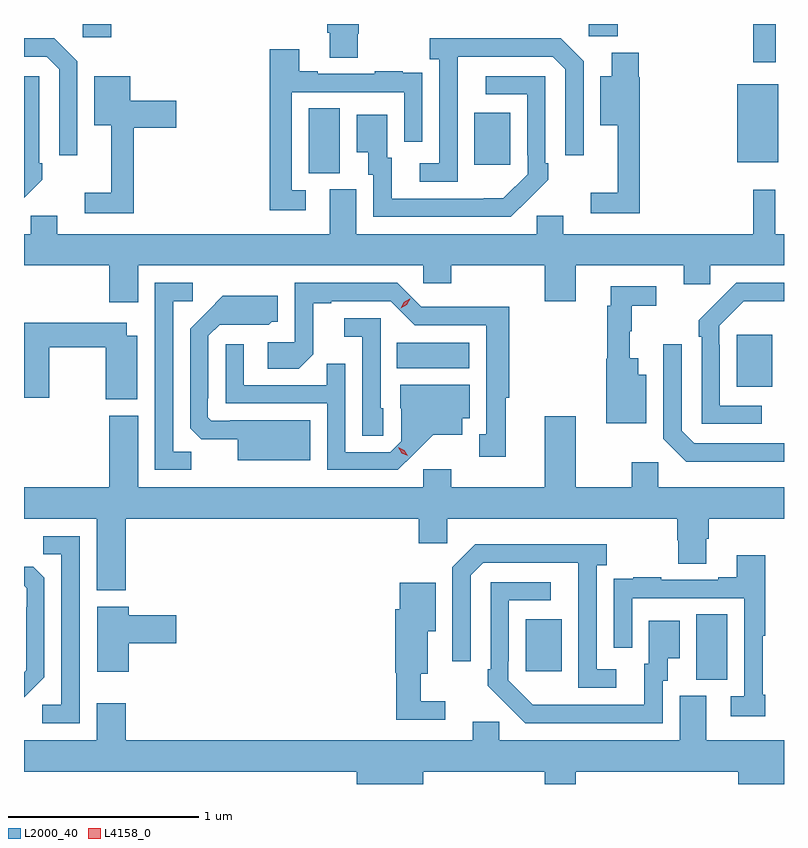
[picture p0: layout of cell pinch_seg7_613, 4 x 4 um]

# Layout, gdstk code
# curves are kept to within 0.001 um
import gdstk
lib = gdstk.Library(unit=1e-6, precision=1e-09)
def R(c, l, rs):  # rectangles x0, y0, x1, y1
    for r in rs: c.add(gdstk.rectangle(r[:2], r[2:], *l))
def P(c, l, *ps):  # polygons
    for p in ps: c.add(gdstk.Polygon(p, *l))
L2000_40 = (2000, 40)
L4158_0 = (4158, 0)

pinch_seg7_613 = lib.new_cell('pinch_seg7_613')
R(pinch_seg7_613, L2000_40, [(117.854,1019.749,118.018,1020.092), (116.957,1019.793,117.145,1020.067), (118.067,1021.289,118.255,1021.564), (116.278,1021.388,116.659,1021.522), (115.814,1022.413,115.978,1022.756), (116.687,1022.457,116.875,1022.731), (118.07,1022.471,118.285,1022.881), (118.153,1022.997,118.272,1023.199), (114.624,1023.129,114.776,1023.199), (117.288,1023.134,117.44,1023.199)])
P(pinch_seg7_613, L2000_40, [(116.073,1023.147),(116.078,1023.147),(116.078,1023.199),(115.913,1023.199),(115.913,1023.154),(115.925,1023.154),(115.925,1023.022),(116.073,1023.022)],
  [(116.598,1022.827),(116.599,1023.027),(117.099,1023.027),(117.165,1022.961),(117.165,1022.508),(117.261,1022.508),(117.261,1023.003),(117.14,1023.124),(116.451,1023.124),(116.451,1023.014),(116.502,1023.014),(116.502,1022.466),(116.4,1022.466),(116.4,1022.37),(116.598,1022.37)],
  [(114.597,1023.003),(114.476,1023.124),(114.316,1023.124),(114.316,1023.027),(114.435,1023.027),(114.501,1022.961),(114.501,1022.508),(114.597,1022.508)],
  [(115.798,1022.325),(115.725,1022.325),(115.725,1022.841),(116.316,1022.841),(116.316,1022.58),(116.412,1022.58),(116.412,1022.834),(116.411,1022.834),(116.411,1022.943),(116.309,1022.943),(116.309,1022.95),(116.161,1022.95),(116.161,1022.937),(115.861,1022.937),(115.861,1022.95),(115.765,1022.95),(115.765,1023.067),(115.609,1023.067),(115.609,1022.22),(115.798,1022.22)],
  [(117.557,1022.919),(117.551,1022.919),(117.551,1023.049),(117.41,1023.049),(117.41,1022.923),(117.35,1022.923),(117.35,1022.666),(117.44,1022.666),(117.44,1022.311),(117.3,1022.311),(117.3,1022.202),(117.557,1022.202)],
  [(116.969,1022.275),(116.97,1022.274),(117.075,1022.379),(117.075,1022.467),(117.06,1022.467),(117.06,1022.925),(116.745,1022.925),(116.745,1022.829),(116.964,1022.829),(116.964,1022.509),(116.967,1022.509),(116.967,1022.409),(116.839,1022.281),(116.251,1022.28),(116.251,1022.496),(116.227,1022.496),(116.227,1022.722),(116.066,1022.722),(116.066,1022.525),(116.129,1022.525),(116.129,1022.406),(116.154,1022.406),(116.154,1022.184),(116.878,1022.184)],
  [(114.411,1022.379),(114.411,1022.467),(114.396,1022.467),(114.396,1022.925),(114.316,1022.925),(114.316,1022.284)],
  [(114.893,1022.654),(115.117,1022.654),(115.117,1022.796),(114.874,1022.796),(114.874,1022.923),(114.686,1022.923),(114.686,1022.666),(114.776,1022.666),(114.776,1022.311),(114.636,1022.311),(114.636,1022.202),(114.893,1022.202)],
  [(114.916,1021.928),(116.418,1021.928),(116.418,1021.835),(116.565,1021.835),(116.565,1021.928),(117.056,1021.928),(117.056,1021.74),(117.22,1021.74),(117.22,1021.928),(117.788,1021.928),(117.788,1021.83),(117.927,1021.83),(117.927,1021.928),(118.316,1021.928),(118.316,1022.092),(118.271,1022.092),(118.271,1022.326),(118.153,1022.326),(118.153,1022.092),(117.154,1022.092),(117.154,1022.19),(117.015,1022.19),(117.015,1022.092),(116.065,1022.092),(116.065,1022.328),(115.925,1022.328),(115.925,1022.092),(114.49,1022.092),(114.49,1022.19),(114.351,1022.19),(114.351,1022.092),(114.316,1022.092),(114.316,1021.928),(114.764,1021.928),(114.764,1021.734),(114.916,1021.734)],
  [(118.198,1021.191),(117.978,1021.191),(117.978,1021.511),(117.975,1021.511),(117.975,1021.611),(118.104,1021.74),(118.316,1021.74),(118.316,1021.836),(118.064,1021.836),(117.867,1021.641),(117.867,1021.553),(117.882,1021.553),(117.882,1021.095),(118.198,1021.095)],
  [(115.197,1020.947),(115.101,1020.947),(115.101,1021.74),(115.204,1021.74),(115.204,1021.836),(115.005,1021.836),(115.005,1020.852),(115.197,1020.852)],
  [(116.851,1021.233),(116.869,1021.233),(116.869,1021.712),(116.628,1021.712),(116.628,1021.71),(116.406,1021.71),(116.28,1021.836),(115.74,1021.836),(115.74,1021.524),(115.599,1021.524),(115.599,1021.384),(115.763,1021.384),(115.839,1021.46),(115.839,1021.728),(115.933,1021.728),(115.933,1021.74),(116.247,1021.74),(116.373,1021.614),(116.75,1021.614),(116.75,1021.041),(116.711,1021.041),(116.711,1020.921),(116.851,1020.921)],
  [(117.592,1021.354),(117.55,1021.354),(117.55,1021.441),(117.503,1021.441),(117.503,1021.581),(117.514,1021.581),(117.514,1021.717),(117.643,1021.717),(117.643,1021.818),(117.404,1021.818),(117.404,1021.715),(117.385,1021.715),(117.385,1021.437),(117.38,1021.437),(117.38,1021.097),(117.592,1021.097)],
  [(115.822,1021.114),(115.402,1021.114),(115.402,1021.11),(115.302,1021.11),(115.284,1021.128),(115.284,1021.228),(115.287,1021.228),(115.287,1021.557),(115.347,1021.617),(115.604,1021.616),(115.62,1021.632),(115.651,1021.632),(115.651,1021.768),(115.363,1021.768),(115.191,1021.594),(115.191,1021.072),(115.25,1021.013),(115.442,1021.013),(115.442,1020.902),(115.822,1020.902)],
  [(116.208,1021.176),(116.193,1021.176),(116.193,1021.65),(116.001,1021.65),(116.001,1021.553),(116.097,1021.553),(116.097,1021.033),(116.208,1021.033)],
  [(114.913,1021.558),(114.856,1021.558),(114.856,1021.627),(114.316,1021.627),(114.316,1021.233),(114.45,1021.233),(114.45,1021.498),(114.746,1021.498),(114.746,1021.223),(114.913,1021.223)],
  [(118.316,1020.993),(117.843,1020.993),(117.777,1021.059),(117.777,1021.513),(117.681,1021.513),(117.681,1021.017),(117.802,1020.896),(118.316,1020.896)],
  [(116.368,1020.935),(116.471,1021.037),(116.623,1021.037),(116.623,1021.124),(116.662,1021.124),(116.662,1021.3),(116.297,1021.3),(116.297,1021.176),(116.301,1021.176),(116.301,1021.002),(116.244,1020.945),(116.007,1020.945),(116.007,1021.412),(115.909,1021.412),(115.909,1021.299),(115.473,1021.299),(115.473,1021.513),(115.377,1021.513),(115.377,1021.203),(115.911,1021.203),(115.911,1020.852),(116.284,1020.852)],
  [(114.851,1020.596),(116.393,1020.596),(116.393,1020.465),(116.544,1020.465),(116.544,1020.596),(117.755,1020.596),(117.755,1020.483),(117.76,1020.483),(117.76,1020.358),(117.907,1020.358),(117.907,1020.49),(117.92,1020.49),(117.92,1020.596),(118.316,1020.596),(118.316,1020.76),(117.654,1020.76),(117.654,1020.892),(117.515,1020.892),(117.515,1020.76),(117.22,1020.76),(117.22,1021.135),(117.056,1021.135),(117.056,1020.76),(116.565,1020.76),(116.565,1020.856),(116.418,1020.856),(116.418,1020.76),(114.916,1020.76),(114.916,1021.138),(114.764,1021.138),(114.764,1020.76),(114.316,1020.76),(114.316,1020.596),(114.698,1020.596),(114.698,1020.218),(114.851,1020.218)],
  [(114.609,1020.504),(114.418,1020.504),(114.418,1020.409),(114.513,1020.409),(114.513,1019.616),(114.411,1019.616),(114.411,1019.52),(114.609,1019.52)],
  [(117.433,1019.802),(117.33,1019.802),(117.33,1020.35),(117.382,1020.35),(117.382,1020.46),(116.692,1020.46),(116.571,1020.339),(116.571,1019.844),(116.667,1019.844),(116.667,1020.297),(116.733,1020.363),(117.233,1020.363),(117.234,1019.706),(117.433,1019.706)],
  [(118.216,1019.668),(118.203,1019.668),(118.203,1019.98),(118.216,1019.98),(118.216,1020.403),(118.067,1020.403),(118.067,1020.286),(117.971,1020.286),(117.971,1020.273),(117.671,1020.273),(117.671,1020.286),(117.523,1020.286),(117.523,1020.279),(117.421,1020.279),(117.421,1020.17),(117.42,1020.17),(117.42,1019.916),(117.516,1019.916),(117.516,1020.177),(118.107,1020.177),(118.107,1019.661),(118.035,1019.661),(118.035,1019.556),(118.216,1019.556)],
  [(114.423,1019.762),(114.423,1020.284),(114.364,1020.343),(114.316,1020.343),(114.316,1020.242),(114.33,1020.228),(114.33,1020.128),(114.327,1020.128),(114.327,1019.799),(114.316,1019.788),(114.316,1019.655)],
  [(117.678,1019.742),(117.703,1019.742),(117.703,1019.861),(117.766,1019.861),(117.766,1020.058),(117.605,1020.058),(117.605,1019.832),(117.581,1019.832),(117.581,1019.616),(116.994,1019.617),(116.865,1019.745),(116.865,1019.845),(116.868,1019.845),(116.868,1020.165),(117.088,1020.165),(117.088,1020.261),(116.772,1020.261),(116.772,1019.803),(116.757,1019.803),(116.757,1019.715),(116.954,1019.52),(117.678,1019.52)],
  [(116.533,1019.635),(116.404,1019.635),(116.404,1019.78),(116.44,1019.78),(116.44,1020.002),(116.482,1020.002),(116.482,1020.259),(116.294,1020.259),(116.294,1020.12),(116.27,1020.12),(116.27,1019.784),(116.275,1019.784),(116.275,1019.538),(116.533,1019.538)],
  [(114.868,1019.939),(115.117,1019.939),(115.117,1020.086),(114.868,1020.086),(114.868,1020.133),(114.701,1020.133),(114.701,1019.79),(114.868,1019.79)],
  [(116.416,1019.264),(117.056,1019.264),(117.056,1019.199),(117.22,1019.199),(117.22,1019.264),(118.076,1019.264),(118.076,1019.199),(118.316,1019.199),(118.316,1019.428),(117.907,1019.428),(117.907,1019.664),(117.767,1019.664),(117.767,1019.428),(116.817,1019.428),(116.817,1019.526),(116.678,1019.526),(116.678,1019.428),(114.851,1019.428),(114.851,1019.623),(114.698,1019.623),(114.698,1019.428),(114.316,1019.428),(114.316,1019.264),(116.066,1019.264),(116.066,1019.199),(116.416,1019.199)])
P(pinch_seg7_613, L4158_0, [(116.298,1021.702),(116.298,1021.703),(116.315,1021.735),(116.347,1021.754),(116.348,1021.754),(116.348,1021.754),(116.33,1021.721),(116.298,1021.702)],
  [(116.335,1020.927),(116.304,1020.941),(116.286,1020.971),(116.286,1020.971),(116.287,1020.971),(116.318,1020.956),(116.335,1020.927),(116.335,1020.927)])

lib.write_gds('pinch_seg7_613.gds')
